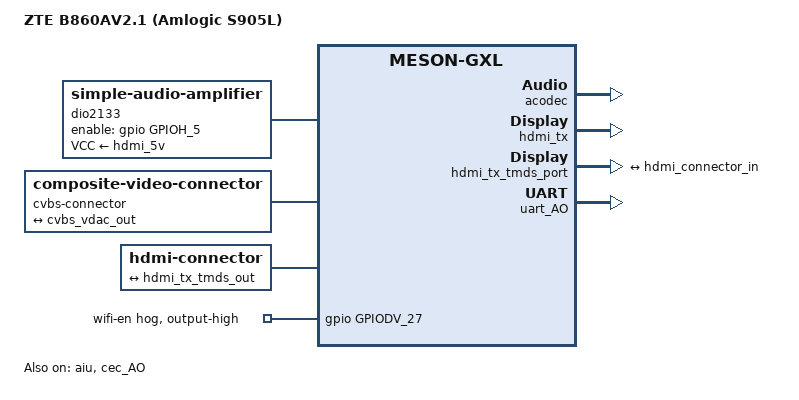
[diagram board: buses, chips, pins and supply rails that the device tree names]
// SPDX-License-Identifier: (GPL-2.0+ OR MIT)
/*
 * Copyright (c) 2016 Endless Computers, Inc.
 * Author: Carlo Caione <carlo@endlessm.com>
 */

/dts-v1/;

#include "meson-gxl-s905x-p212.dtsi"
#include <dt-bindings/sound/meson-aiu.h>

/ {
	compatible = "zte,b860av21", "amlogic,p212", "amlogic,s905x", "amlogic,meson-gxl";
	model = "ZTE B860AV2.1 (Amlogic S905L)";

	dio2133: analog-amplifier {
		compatible = "simple-audio-amplifier";
		sound-name-prefix = "AU2";
		VCC-supply = <&hdmi_5v>;
		enable-gpios = <&gpio GPIOH_5 GPIO_ACTIVE_HIGH>;
	};

	cvbs-connector {
		compatible = "composite-video-connector";

		port {
			cvbs_connector_in: endpoint {
				remote-endpoint = <&cvbs_vdac_out>;
			};
		};
	};

	hdmi-connector {
		compatible = "hdmi-connector";
		type = "a";

		port {
			hdmi_connector_in: endpoint {
				remote-endpoint = <&hdmi_tx_tmds_out>;
			};
		};
	};

	sound {
		compatible = "amlogic,gx-sound-card";
		model = "S905X-P212";
		audio-aux-devs = <&dio2133>;
		audio-widgets = "Line", "Lineout";
		audio-routing = "AU2 INL", "ACODEC LOLN",
				"AU2 INR", "ACODEC LORN",
				"Lineout", "AU2 OUTL",
				"Lineout", "AU2 OUTR";
		assigned-clocks = <&clkc CLKID_MPLL0>,
				  <&clkc CLKID_MPLL1>,
				  <&clkc CLKID_MPLL2>;
		assigned-clock-parents = <0>, <0>, <0>;
		assigned-clock-rates = <294912000>,
				       <270950400>,
				       <393216000>;
		dai-link-0 {
			sound-dai = <&aiu AIU_CPU CPU_I2S_FIFO>;
		};

		dai-link-1 {
			sound-dai = <&aiu AIU_CPU CPU_I2S_ENCODER>;
			dai-format = "i2s";
			mclk-fs = <256>;

			codec-0 {
				sound-dai = <&aiu AIU_HDMI CTRL_I2S>;
			};

			codec-1 {
				sound-dai = <&aiu AIU_ACODEC CTRL_I2S>;
			};
		};

		dai-link-2 {
			sound-dai = <&aiu AIU_HDMI CTRL_OUT>;

			codec-0 {
				sound-dai = <&hdmi_tx>;
			};
		};

		dai-link-3 {
			sound-dai = <&aiu AIU_ACODEC CTRL_OUT>;

			codec-0 {
				sound-dai = <&acodec>;
			};
		};
	};
};

&acodec {
	AVDD-supply = <&vddio_ao18>;
	status = "okay";
};

&aiu {
	status = "okay";
};

&cec_AO {
	status = "okay";
	pinctrl-0 = <&ao_cec_pins>;
	pinctrl-names = "default";
	hdmi-phandle = <&hdmi_tx>;
};

&cvbs_vdac_port {
	cvbs_vdac_out: endpoint {
		remote-endpoint = <&cvbs_connector_in>;
	};
};

&hdmi_tx {
	status = "okay";
	pinctrl-0 = <&hdmi_hpd_pins>, <&hdmi_i2c_pins>;
	pinctrl-names = "default";
	hdmi-supply = <&hdmi_5v>;
};

&hdmi_tx_tmds_port {
	hdmi_tx_tmds_out: endpoint {
		remote-endpoint = <&hdmi_connector_in>;
	};
};

/* This UART is brought out to the DB9 connector */
&uart_AO {
	status = "okay";
};

/* ==========================================================================
 * ZTE B860AV2.1 (Amlogic S905L / S905L-B) board specific bits
 *
 * WiFi 实测结论 (2026-10-14, 主线 6.7.0-rc5)：
 *   · 模组 RTL8189FTV 挂在 sd_emmc_a（GPIOX_0..5），SDIO ID = 024c:f179
 *   · 模组使能脚是 GPIODV_27（pin 76），高有效 —— 这是本板与 p212 参考板
 *     最大的差别：p212 的 sdio_pwrseq 用 GPIOX_6 当 WL_REG_ON，本板不是
 *   · 使能必须从开机起保持为高，否则 SDIO 总线上扫不到任何器件
 *   · 32.768kHz LPO 非必需：实测关掉 PWM_E 仍能正常枚举
 *   · GPIODV_27 若要改由驱动控制，把 hog 换成带 gpio 的 regulator-fixed 即可
 * ========================================================================== */

/* p212 参考板的 sdio_pwrseq 在本板是错的（GPIOX_6 并非模组使能），一并去掉，
 * 免得它把 GPIOX_6 拉住、还依赖 wifi32k/PWM_E */
&sd_emmc_a {
	/delete-property/ mmc-pwrseq;
};

/ {
	/delete-node/ sdio-pwrseq;
};

/* 本板真正的 WiFi 使能：GPIODV_27，高有效，开机即拉高并一直保持。
 * 注：gpio-hog 必须是 gpio 控制器节点的子节点，放根节点下不会生效 */
&gpio {
	wifi_en_hog: wifi-en-hog {
		gpio-hog;
		gpios = <GPIODV_27 GPIO_ACTIVE_HIGH>;
		output-high;
		line-name = "wifi-en";
	};
};

/* 这条 SDIO 总线上是 Realtek 的芯片，别让 brcmfmac 去抢 */
&brcmf {
	/delete-property/ compatible;
};
